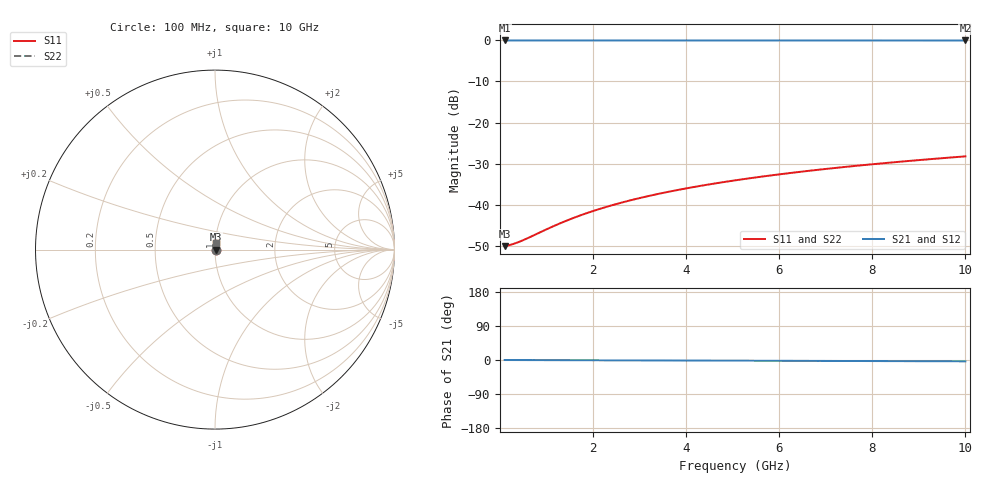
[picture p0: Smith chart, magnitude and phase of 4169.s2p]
# Hz S RI R 50.00
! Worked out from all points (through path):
!   100 points, 100 MHz to 10 GHz, reference 50 ohm
!   highest |S21| = -0.03 dB at 100 MHz (marker M1); lowest = 0.0 dB at 10 GHz (marker M2)
!   lowest |S11| = -50.1 dB at 100 MHz (marker M3), VSWR 1.01, Z = 50.3 + j0.0386 ohm
!   |S11| at or under -10 dB: start of sweep to end of sweep
!   |S22| runs from -50.1 to -28.2 dB; largest |S21 - S12| = 0
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1e8  0.0031 0.000384  0.9969 -0.000608  0.9969 -0.000608  0.0031 0.000384
2e8  0.00313 0.000768  0.9969 -0.00122  0.9969 -0.00122  0.00313 0.000768
3e8  0.00314 0.00115  0.9969 -0.00182  0.9969 -0.00182  0.00314 0.00115
4e8  0.00316 0.00154  0.9968 -0.00243  0.9968 -0.00243  0.00316 0.00154
6e8  0.00318 0.0023  0.9968 -0.00365  0.9968 -0.00365  0.00318 0.0023
1e9  0.00322 0.00384  0.9968 -0.00608  0.9968 -0.00608  0.00322 0.00384
1.3e9  0.00326 0.00499  0.9967 -0.0079  0.9967 -0.0079  0.00326 0.00499
1.5e9  0.00328 0.00576  0.9967 -0.00912  0.9967 -0.00912  0.00328 0.00576
1.8e9  0.00332 0.00691  0.9967 -0.0109  0.9967 -0.0109  0.00332 0.00691
2.1e9  0.00335 0.00806  0.9966 -0.0128  0.9966 -0.0128  0.00335 0.00806
2.5e9  0.00341 0.0096  0.9966 -0.0152  0.9966 -0.0152  0.00341 0.0096
2.9e9  0.00348 0.0111  0.9965 -0.0176  0.9965 -0.0176  0.00348 0.0111
3.4e9  0.00356 0.013  0.9964 -0.0207  0.9964 -0.0207  0.00356 0.013
3.8e9  0.00364 0.0146  0.9963 -0.0231  0.9963 -0.0231  0.00364 0.0146
4.2e9  0.00373 0.0161  0.9962 -0.0255  0.9962 -0.0255  0.00373 0.0161
4.6e9  0.00382 0.0177  0.9961 -0.028  0.9961 -0.028  0.00382 0.0177
5.1e9  0.00395 0.0196  0.996 -0.031  0.996 -0.031  0.00395 0.0196
5.9e9  0.00417 0.0226  0.9957 -0.0359  0.9957 -0.0359  0.00417 0.0226
6.7e9  0.00442 0.0257  0.9954 -0.0407  0.9954 -0.0407  0.00442 0.0257
7.5e9  0.00471 0.0288  0.9951 -0.0456  0.9951 -0.0456  0.00471 0.0288
8.4e9  0.00506 0.0322  0.9947 -0.051  0.9947 -0.051  0.00506 0.0322
1e10  0.00579 0.0383  0.9939 -0.0607  0.9939 -0.0607  0.00579 0.0383
